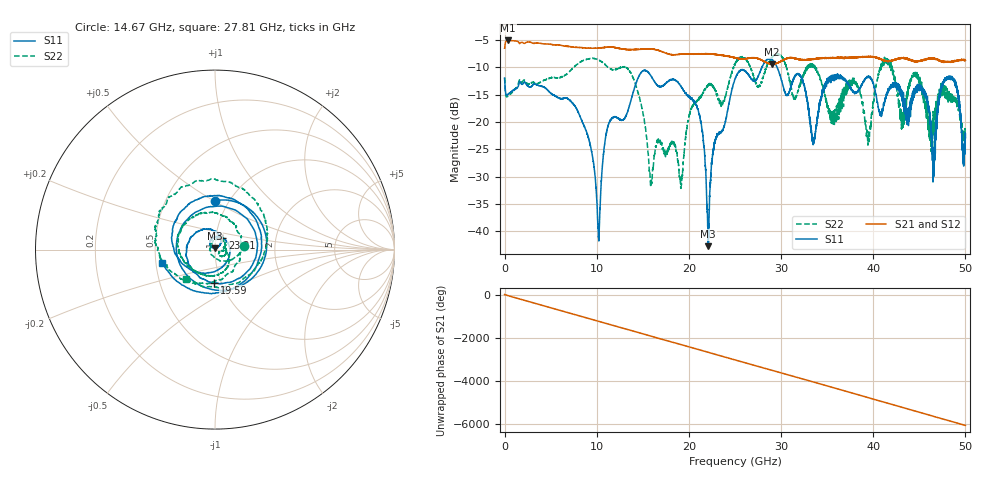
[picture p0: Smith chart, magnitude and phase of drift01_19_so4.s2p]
!Created with skrf (http://scikit-rf.org).
# Hz S RI R 50.0
!freq ReS11 ImS11 ReS21 ImS21 ReS12 ImS12 ReS22 ImS22
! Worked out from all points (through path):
!   10001 points, 300 kHz to 50 GHz, reference 50 ohm
!   highest |S21| = -5.05 dB at 380.3 MHz (marker M1); lowest = -9.4 dB at 29.03 GHz (marker M2)
!   group delay of S21, straight-line fit = 336 ps
!   lowest |S11| = -42.7 dB at 22.09 GHz (marker M3), VSWR 1.01, Z = 49.9 + j0.717 ohm
!   |S11| at or under -10 dB: start of sweep to 27.92 GHz; 29.59 GHz to end of sweep
!   |S22| runs from -32.1 to -7.5 dB; largest |S21 - S12| = 0.011
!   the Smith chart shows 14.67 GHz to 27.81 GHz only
!   S11 on the Smith chart (normalised r, x): 14.67 GHz: 0.86, +0.51; 19.59 GHz: 0.92, -0.35; 23.21 GHz: 1.08, +0.14; 27.81 GHz: 0.54, -0.09
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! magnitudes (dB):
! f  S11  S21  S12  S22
! 300 kHz  -12.0  -6.5  -6.6  -11.8
! 380.3 MHz  -14.9  -5.1  -5.1  -15.2
! 8.335 GHz  -19.6  -6.4  -6.4  -8.9
! 10.21 GHz  -41.2  -6.4  -6.4  -8.6
! 11.23 GHz  -20.7  -6.3  -6.3  -10.0
! 14.67 GHz  -11.3  -6.7  -6.7  -15.7
! 15.88 GHz  -11.5  -6.6  -6.6  -31.1
! 16.67 GHz  -13.4  -6.9  -6.9  -23.2
! 19.59 GHz  -14.7  -7.5  -7.5  -23.5
! 21.23 GHz  -19.4  -7.5  -7.5  -15.5
! 22.09 GHz  -42.7  -7.5  -7.5  -13.3
! 23.21 GHz  -22.3  -7.7  -7.7  -15.7
! 25 GHz  -12.1  -8.2  -8.3  -9.4
! 27.81 GHz  -10.4  -8.6  -8.6  -12.7
! 29.03 GHz  -8.6  -9.4  -9.4  -8.2
! 33.34 GHz  -22.7  -8.5  -8.5  -9.6
! 39.47 GHz  -11.7  -8.0  -8.0  -22.4
! 41.67 GHz  -13.9  -8.8  -8.8  -9.1
! 45.36 GHz  -13.9  -8.7  -8.7  -14.7
! 46.56 GHz  -25.8  -8.3  -8.2  -22.0
! 48.53 GHz  -12.0  -8.9  -9.0  -15.3
! 50 GHz  -22.8  -8.7  -8.7  -23.0
